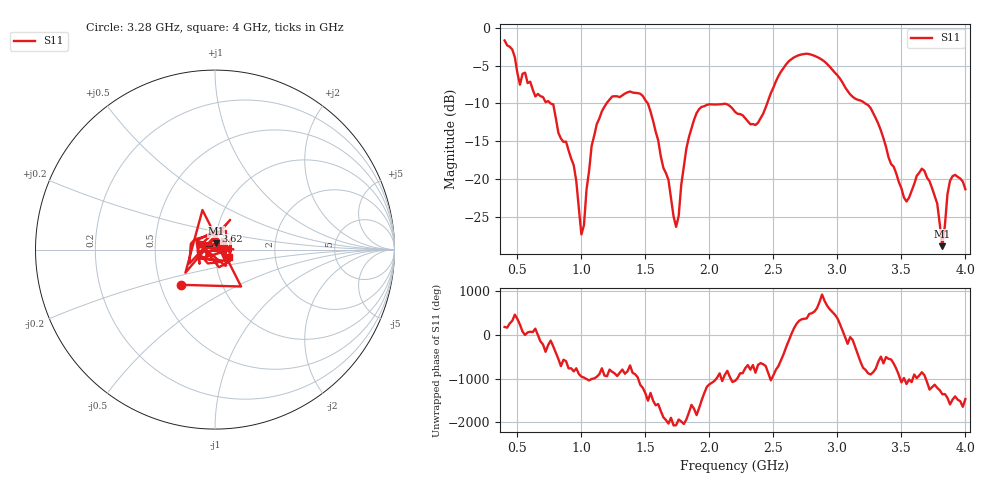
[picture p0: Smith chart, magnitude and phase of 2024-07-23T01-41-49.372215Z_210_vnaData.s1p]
!Created with skrf (http://scikit-rf.org).
# Hz S RI R 50.0
!freq ReS11 ImS11
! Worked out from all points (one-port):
!   181 points, 400 MHz to 4 GHz, reference 50 ohm
!   lowest |S11| = -28.9 dB at 3.82 GHz (marker M1), VSWR 1.07, Z = 50.4 + j3.59 ohm
!   |S11| at or under -10 dB: 758.2 MHz to 1.197 GHz (438.5 MHz wide, 44.9 % of centre); 1.519 GHz to 2.451 GHz (932.5 MHz wide, 47 % of centre); 3.216 GHz to end of sweep
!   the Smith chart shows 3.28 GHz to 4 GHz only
!   S11 on the Smith chart (normalised r, x): 3.28 GHz: 0.64, -0.27; 3.62 GHz: 0.98, +0.21; 4 GHz: 1.16, -0.09
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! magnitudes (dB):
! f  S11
! 400 MHz  -1.7
! 520 MHz  -7.5
! 560 MHz  -5.9
! 780 MHz  -10.1
! 860 MHz  -15.1
! 940 MHz  -18.2
! 1 GHz  -27.3
! 1.08 GHz  -15.6
! 1.12 GHz  -12.7
! 1.3 GHz  -9.2
! 1.52 GHz  -10.0
! 1.74 GHz  -26.3
! 1.76 GHz  -24.9
! 1.82 GHz  -16.0
! 1.9 GHz  -11.3
! 2.2 GHz  -11.1
! 2.38 GHz  -12.6
! 2.66 GHz  -3.9
! 2.88 GHz  -4.2
! 3.1 GHz  -8.8
! 3.28 GHz  -11.3
! 3.56 GHz  -22.5
! 3.62 GHz  -19.6
! 3.72 GHz  -20.3
! 3.78 GHz  -23.3
! 3.82 GHz  -28.9
! 3.88 GHz  -20.2
! 4 GHz  -21.4
